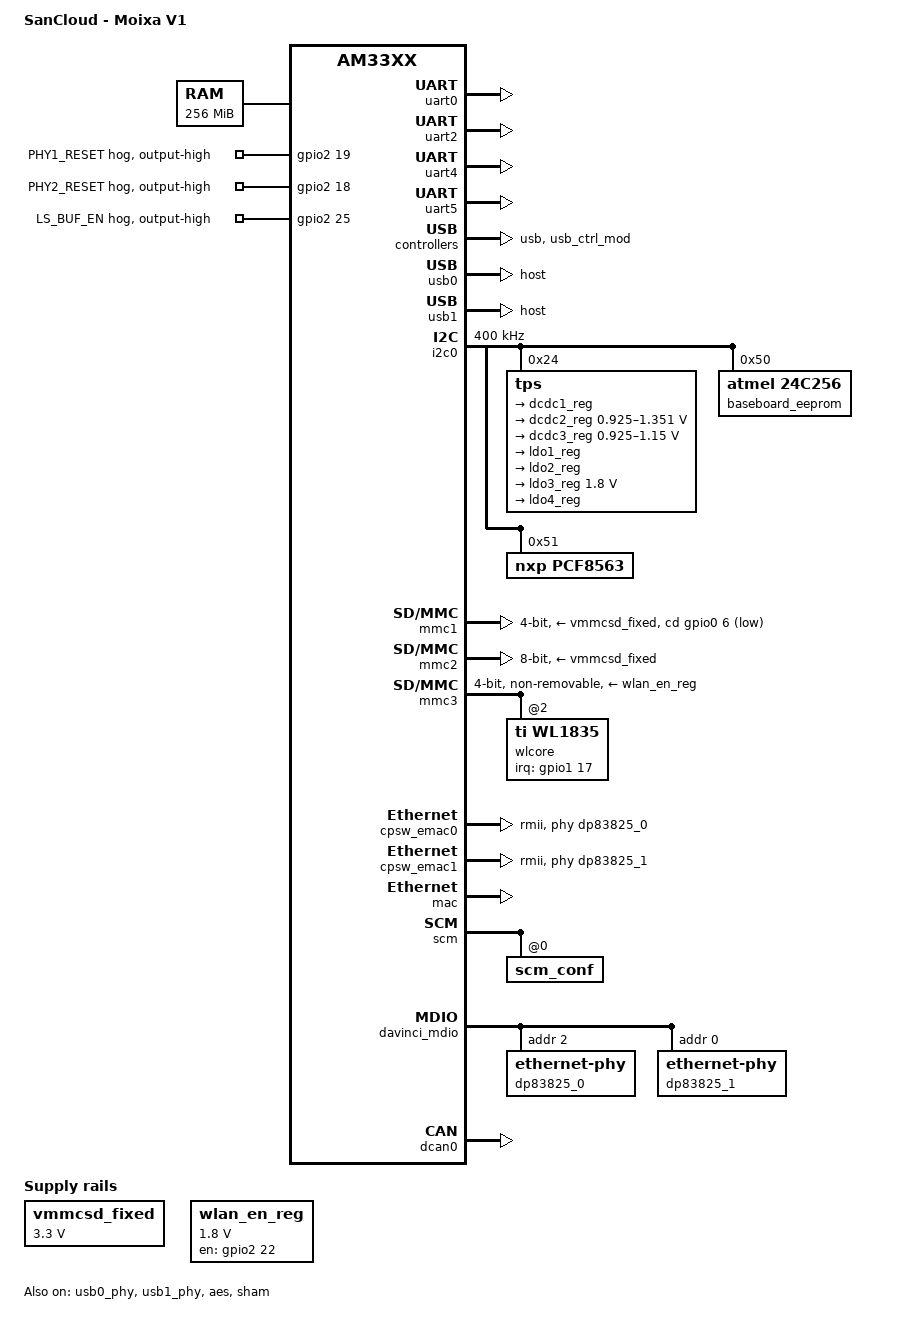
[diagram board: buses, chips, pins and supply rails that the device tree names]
// SPDX-License-Identifier: GPL-2.0
/*
 * Copyright (C) 2021 SanCloud - http://www.sancloud.com/
 *
 * This program is free software; you can redistribute it and/or modify
 * it under the terms of the GNU General Public License version 2 as
 * published by the Free Software Foundation.
 */
/dts-v1/;

#include "am33xx.dtsi"
#include <dt-bindings/interrupt-controller/irq.h>


/ {
	model = "SanCloud - Moixa V1";
	compatible = "ti,am33xx";

	cpus {
		cpu@0 {
			cpu0-supply = <&dcdc2_reg>;
		};
	};

	memory@80000000 {
		device_type = "memory";
		reg = <0x80000000 0x10000000>; /* 256 MB */
	};

	chosen {
		stdout-path = &uart0;
	};
  
 	vmmcsd_fixed: fixedregulator0 {
		compatible = "regulator-fixed";
		regulator-name = "vmmcsd_fixed";
		regulator-min-microvolt = <3300000>;
		regulator-max-microvolt = <3300000>;
	};

	wlan_en_reg: fixedregulator@2 {
		compatible = "regulator-fixed";
		regulator-name = "wlan-en-regulator";
		regulator-min-microvolt = <1800000>;
		regulator-max-microvolt = <1800000>;
		startup-delay-us= <70000>;

		/* WL_EN */
		gpio = <&gpio2 22 0>;
		enable-active-high;
	};  
  
};


&rtc {
	system-power-controller;
};


&am33xx_pinmux {
	pinctrl-names = "default";
	pinctrl-0 = <&clkout2_pin>;
  
	clkout2_pin: pinmux_clkout2_pin {
		pinctrl-single,pins = <
			AM33XX_IOPAD(0x9b4, PIN_OUTPUT_PULLDOWN | MUX_MODE3)	/* xdma_event_intr1.clkout2 */
		>;
	};

	cpsw_default: cpsw_default {
		pinctrl-single,pins = <
			/* Slave 1 */
			 AM33XX_IOPAD(0x928, PIN_OUTPUT | MUX_MODE1) /* (K17) mii1_txd0.mii1_txd0 */
			 AM33XX_IOPAD(0x924, PIN_OUTPUT | MUX_MODE1) /* (K16) mii1_txd1.mii1_txd1 */
			 AM33XX_IOPAD(0x914, PIN_OUTPUT | MUX_MODE1) /* (J16) mii1_txen.rmii1_txen */
			 AM33XX_IOPAD(0x90c, PIN_INPUT | MUX_MODE1) /* (J17) mii1_crs.rmii1_crs_dv */
			 AM33XX_IOPAD(0x940, PIN_INPUT | MUX_MODE1) /* (M16) mii1_rxd0.rmii1_rxd0 */
			 AM33XX_IOPAD(0x93c, PIN_INPUT | MUX_MODE1) /* (L15) mii1_rxd1.rmii1_rxd1 */
			 AM33XX_IOPAD(0x910, PIN_INPUT | MUX_MODE1) /* (K15) mii1_rx_err.mii1_rx_err */
       AM33XX_IOPAD(0x944, PIN_INPUT | MUX_MODE0) /* (L18) mii1_refclk.mii1_refclk */
			 /*AM33XX_IOPAD(0x938, PIN_OUTPUT | MUX_MODE7)*/ /* (L16) mii1_rxd2.gpio2_19 */
			 /*AM33XX_IOPAD(0x898, PIN_INPUT | MUX_MODE7)*/ /* (L17) gpmc_wen.gpio2_4 */
      
			/* Slave 2 */
			 AM33XX_IOPAD(0x854, PIN_OUTPUT | MUX_MODE3) /* (K17) gpmc_a5.rmii2_txd0 */
			 AM33XX_IOPAD(0x850, PIN_OUTPUT | MUX_MODE3) /* (K16) gpmc_a4.rmii2_txd1 */
			 AM33XX_IOPAD(0x840, PIN_OUTPUT | MUX_MODE3) /* (J16) gpmc_a0.rmii2_txen */
			 AM33XX_IOPAD(0x870, PIN_INPUT | MUX_MODE3) /* (J17) gpmc_wait0.rmii2_crs_dv */
			 AM33XX_IOPAD(0x86c, PIN_INPUT | MUX_MODE3) /* (M16) gpmc_a11.rmii2_rxd0 */
			 AM33XX_IOPAD(0x868, PIN_INPUT | MUX_MODE3) /* (L15) gpmc_a10.rmii2_rxd1 */
			 AM33XX_IOPAD(0x874, PIN_INPUT | MUX_MODE3) /* (K15) gpmc_wpn.mii2_rx_err */
       AM33XX_IOPAD(0x908, PIN_INPUT | MUX_MODE1) /* (L18) mii1_col.mii2_refclk */
			 /*AM33XX_IOPAD(0x934, PIN_OUTPUT | MUX_MODE7)*/ /* (L16) mii1_rxd3.gpio2_18 */
			 /*AM33XX_IOPAD(0x864, PIN_INPUT | MUX_MODE7)*/ /* (L17) gpmc_a9.gpio1_25 */
		>;
	};

	cpsw_sleep: cpsw_sleep {
		pinctrl-single,pins = <
			/* Slave 1 reset value */
			 AM33XX_IOPAD(0x928, PIN_INPUT_PULLDOWN | MUX_MODE7) /* (K17) mii1_txd0.mii1_txd0 */
			 AM33XX_IOPAD(0x924, PIN_INPUT_PULLDOWN | MUX_MODE7) /* (K16) mii1_txd1.mii1_txd1 */
			 AM33XX_IOPAD(0x914, PIN_INPUT_PULLDOWN | MUX_MODE7) /* (J16) mii1_txen.rmii1_txen */
			 AM33XX_IOPAD(0x90c, PIN_INPUT_PULLDOWN | MUX_MODE7) /* (J17) mii1_crs.rmii1_crs_dv */
			 AM33XX_IOPAD(0x940, PIN_INPUT_PULLDOWN | MUX_MODE7) /* (M16) mii1_rxd0.rmii1_rxd0 */
			 AM33XX_IOPAD(0x93c, PIN_INPUT_PULLDOWN | MUX_MODE7) /* (L15) mii1_rxd1.rmii1_rxd1 */
			 AM33XX_IOPAD(0x910, PIN_INPUT_PULLDOWN | MUX_MODE7) /* (K15) mii1_rx_err.mii1_rx_err */
       AM33XX_IOPAD(0x944, PIN_INPUT_PULLDOWN | MUX_MODE7) /* (L18) mii1_refclk.mii1_refclk */
		   /*AM33XX_IOPAD(0x938, PIN_INPUT_PULLDOWN | MUX_MODE7)*/ /* (L16) mii1_rxd2.gpio2_19 */
		   /*AM33XX_IOPAD(0x898, PIN_INPUT_PULLDOWN | MUX_MODE7)*/ /* (L17) gpmc_wen.gpio2_4 */
      
			/* Slave 2 reset value */
			 AM33XX_IOPAD(0x854, PIN_INPUT_PULLDOWN | MUX_MODE7) /* (K17) gpmc_a5.rmii2_txd0 */
			 AM33XX_IOPAD(0x850, PIN_INPUT_PULLDOWN | MUX_MODE7) /* (K16) gpmc_a4.rmii2_txd1 */
			 AM33XX_IOPAD(0x840, PIN_INPUT_PULLDOWN | MUX_MODE7) /* (J16) gpmc_a0.rmii2_txen */
			 AM33XX_IOPAD(0x870, PIN_INPUT_PULLDOWN | MUX_MODE7) /* (J17) gpmc_wait0.rmii2_crs_dv */
			 AM33XX_IOPAD(0x86c, PIN_INPUT_PULLDOWN | MUX_MODE7) /* (M16) gpmc_a11.rmii2_rxd0 */
			 AM33XX_IOPAD(0x868, PIN_INPUT_PULLDOWN | MUX_MODE7) /* (L15) gpmc_a10.rmii2_rxd1 */
			 AM33XX_IOPAD(0x874, PIN_INPUT_PULLDOWN | MUX_MODE7) /* (K15) gpmc_wpn.mii2_rx_err */
       AM33XX_IOPAD(0x908, PIN_INPUT_PULLDOWN | MUX_MODE7) /* (L18) mii1_col.mii2_refclk */
			 /*AM33XX_IOPAD(0x934, PIN_INPUT_PULLDOWN | MUX_MODE7)*/ /* (L16) mii1_rxd3.gpio2_18 */
			 /*AM33XX_IOPAD(0x864, PIN_INPUT_PULLDOWN | MUX_MODE7)*/ /* (L17) gpmc_a9.gpio1_25 */

		>;
	};

	davinci_mdio_default: davinci_mdio_default {
		pinctrl-single,pins = <
			/* MDIO */
			AM33XX_IOPAD(0x948, PIN_INPUT_PULLUP | SLEWCTRL_FAST | MUX_MODE0)	/* mdio_data.mdio_data */
			AM33XX_IOPAD(0x94c, PIN_OUTPUT_PULLUP | MUX_MODE0)			/* mdio_clk.mdio_clk */
		>;
	};

	davinci_mdio_sleep: davinci_mdio_sleep {
		pinctrl-single,pins = <
			/* MDIO reset value */
			AM33XX_IOPAD(0x948, PIN_INPUT_PULLDOWN | MUX_MODE7)
			AM33XX_IOPAD(0x94c, PIN_INPUT_PULLDOWN | MUX_MODE7)
		>;
	};

	dcan0_pins_s0: dcan0_pins_s0 {
		pinctrl-single,pins = <
			AM33XX_IOPAD(0x97C, 0x32  ) /* d_can0_rx, SLEWCTRL_FAST | RECV_ENABLE | INPUT_PULLUP | MODE2 */
			AM33XX_IOPAD(0x978, 0x12  ) /* d_can0_tx, SLEWCTRL_FAST | OUTPUT_PULLUP | MODE2 */
		>;
	};

	dcan0_pins_s0_sleep: dcan0_pins_s0_sleep {
		pinctrl-single,pins = <
			AM33XX_IOPAD(0x97C, PIN_INPUT_PULLDOWN | MUX_MODE7)  /* d_can0_rx, SLEWCTRL_FAST | RECV_ENABLE | INPUT_PULLUP | MODE7 */
			AM33XX_IOPAD(0x978, PIN_INPUT_PULLDOWN | MUX_MODE7)  /* d_can0_tx, SLEWCTRL_FAST | OUTPUT_PULLUP | MODE7 */
		>;
	};


	mmc1_pins: pinmux_mmc1_pins {
		pinctrl-single,pins = <
			AM33XX_IOPAD(0x960, PIN_INPUT | MUX_MODE7)		/* spio0_cs1.gpio0_6 */
			AM33XX_IOPAD(0x8fc, PIN_INPUT_PULLUP | MUX_MODE0)	/* mmc0_dat0.mmc0_dat0 */
			AM33XX_IOPAD(0x8f8, PIN_INPUT_PULLUP | MUX_MODE0)	/* mmc0_dat1.mmc0_dat1 */
			AM33XX_IOPAD(0x8f4, PIN_INPUT_PULLUP | MUX_MODE0)	/* mmc0_dat2.mmc0_dat2 */
			AM33XX_IOPAD(0x8f0, PIN_INPUT_PULLUP | MUX_MODE0)	/* mmc0_dat3.mmc0_dat3 */
			AM33XX_IOPAD(0x904, PIN_INPUT_PULLUP | MUX_MODE0)	/* mmc0_cmd.mmc0_cmd */
			AM33XX_IOPAD(0x900, PIN_INPUT_PULLUP | MUX_MODE0)	/* mmc0_clk.mmc0_clk */
		>;
	};

	emmc_pins: pinmux_emmc_pins {
		pinctrl-single,pins = <
			AM33XX_IOPAD(0x880, PIN_INPUT_PULLUP | MUX_MODE2) /* gpmc_csn1.mmc1_clk */
			AM33XX_IOPAD(0x884, PIN_INPUT_PULLUP | MUX_MODE2) /* gpmc_csn2.mmc1_cmd */
			AM33XX_IOPAD(0x800, PIN_INPUT_PULLUP | MUX_MODE1) /* gpmc_ad0.mmc1_dat0 */
			AM33XX_IOPAD(0x804, PIN_INPUT_PULLUP | MUX_MODE1) /* gpmc_ad1.mmc1_dat1 */
			AM33XX_IOPAD(0x808, PIN_INPUT_PULLUP | MUX_MODE1) /* gpmc_ad2.mmc1_dat2 */
			AM33XX_IOPAD(0x80c, PIN_INPUT_PULLUP | MUX_MODE1) /* gpmc_ad3.mmc1_dat3 */
			AM33XX_IOPAD(0x810, PIN_INPUT_PULLUP | MUX_MODE1) /* gpmc_ad4.mmc1_dat4 */
			AM33XX_IOPAD(0x814, PIN_INPUT_PULLUP | MUX_MODE1) /* gpmc_ad5.mmc1_dat5 */
			AM33XX_IOPAD(0x818, PIN_INPUT_PULLUP | MUX_MODE1) /* gpmc_ad6.mmc1_dat6 */
			AM33XX_IOPAD(0x81c, PIN_INPUT_PULLUP | MUX_MODE1) /* gpmc_ad7.mmc1_dat7 */
		>;
	};

	mmc3_pins: pinmux_mmc3_pins {
		pinctrl-single,pins = <
			AM33XX_IOPAD(0x88c, PIN_INPUT_PULLUP | MUX_MODE3) /* (V12) gpmc_clk.mmc2_clk */
			AM33XX_IOPAD(0x888, PIN_INPUT_PULLUP | MUX_MODE3) /* (T13) gpmc_csn3.mmc2_cmd */
			AM33XX_IOPAD(0x830, PIN_INPUT_PULLUP | MUX_MODE3) /* (T12) gpmc_ad12.mmc2_dat0 */
			AM33XX_IOPAD(0x834, PIN_INPUT_PULLUP | MUX_MODE3) /* (R12) gpmc_ad13.mmc2_dat1 */
			AM33XX_IOPAD(0x838, PIN_INPUT_PULLUP | MUX_MODE3) /* (V13) gpmc_ad14.mmc2_dat2 */
			AM33XX_IOPAD(0x83c, PIN_INPUT_PULLUP | MUX_MODE3) /* (U13) gpmc_ad15.mmc2_dat3 */
		>;
	};

	wl18xx_pins: pinmux_wl18xx_pins {
		pinctrl-single,pins = <
			AM33XX_IOPAD(0x8e0, PIN_OUTPUT_PULLDOWN | MUX_MODE7)	/* lcd_vsync.gpio2_22 WL_EN */
			AM33XX_IOPAD(0x844, PIN_INPUT_PULLDOWN | MUX_MODE7)	  /* gpmc_a1.gpio1_17 WL_IRQ */
			AM33XX_IOPAD(0x8ec, PIN_OUTPUT_PULLUP | MUX_MODE7)	  /* cd_ac_bias_en.gpio2_25 LS_BUF_EN */
		>;
	};
  
	i2c0_pins: pinmux_i2c0_pins {
		pinctrl-single,pins = <
			AM33XX_IOPAD(0x988, PIN_INPUT_PULLUP | MUX_MODE0)	/* i2c0_sda.i2c0_sda */
			AM33XX_IOPAD(0x98c, PIN_INPUT_PULLUP | MUX_MODE0)	/* i2c0_scl.i2c0_scl */
		>;
	};


	uart0_pins: pinmux_uart0_pins {
		pinctrl-single,pins = <
			AM33XX_IOPAD(0x970, PIN_INPUT_PULLUP | MUX_MODE0)	/* uart0_rxd.uart0_rxd */
			AM33XX_IOPAD(0x974, PIN_OUTPUT_PULLDOWN | MUX_MODE0)	/* uart0_txd.uart0_txd */
		>;
	};

	uart2_pins: uart2_pins_default {
		pinctrl-single,pins = <
			AM33XX_IOPAD(0x92c, PIN_INPUT | MUX_MODE1)  /*  mii1_tx_clk.uart2_rxd */
			AM33XX_IOPAD(0x930, PIN_OUTPUT | MUX_MODE1) /*  mii1_rx_clk.uart2_txd */
			AM33XX_IOPAD(0x878, PIN_OUTPUT | MUX_MODE7) /*  gpmc_ben1.gpio1[28] RTS */
		>;
	};


	uart4_pins: uart4_pins_default {
		pinctrl-single,pins = <
			AM33XX_IOPAD(0x91c, PIN_INPUT | MUX_MODE3) /*  mii1_txd3.uart4_rxd */
   		AM33XX_IOPAD(0x920, PIN_OUTPUT | MUX_MODE3) /*  mii1_txd2.uart4_txd */
			AM33XX_IOPAD(0x8e8, PIN_OUTPUT_PULLUP | MUX_MODE7) /* lcd_pclk.gpio2[24] RTS */
		>;
	};


	uart5_pins: uart5_pins_default {
		pinctrl-single,pins = <
			AM33XX_IOPAD(0x8c4, PIN_INPUT | MUX_MODE4) /* (U2) lcd_data9.uart5_rxd */
			AM33XX_IOPAD(0x8c0, PIN_OUTPUT | MUX_MODE4) /* (U1) lcd_data8.uart5_txd */
			AM33XX_IOPAD(0x8d8, PIN_INPUT | MUX_MODE6) /* (V4) lcd_data14.uart5_ctsn */
			AM33XX_IOPAD(0x8dc, PIN_OUTPUT | MUX_MODE6) /* (T5) lcd_data15.uart5_rtsn */
		>;
	};  
  
};

&uart0 {
	pinctrl-names = "default";
	pinctrl-0 = <&uart0_pins>;

	status = "okay";
};

&uart2 {
    pinctrl-names = "default";
    pinctrl-0 = <&uart2_pins>;
    status = "okay";
    rts-gpio = <&gpio1 28 GPIO_ACTIVE_HIGH>;
    rs485-rts-active-high;
    rs485-rts-delay = <0 0>;
    linux,rs485-enabled-at-boot-time;
};


&uart4 {
    pinctrl-names = "default";
    pinctrl-0 = <&uart4_pins>;
    status = "okay";
    rts-gpio = <&gpio2 24 GPIO_ACTIVE_HIGH>;
    rs485-rts-active-high;
    rs485-rts-delay = <0 0>;
    linux,rs485-enabled-at-boot-time;
};


&uart5 {
  pinctrl-names = "default";
  pinctrl-0 = <&uart5_pins>;
  status = "okay";
  uart-has-rtscts;
};


&usb {
	status = "okay";
};

&usb_ctrl_mod {
	status = "okay";
};

&usb0_phy {
	status = "okay";
};

&usb1_phy {
	status = "okay";
};

&usb0 {
	status = "okay";
	dr_mode = "host";
};

&usb1 {
	status = "okay";
	dr_mode = "host";
};

&cppi41dma  {
	status = "okay";
};

&i2c0 {
	pinctrl-names = "default";
	pinctrl-0 = <&i2c0_pins>;

	status = "okay";
	clock-frequency = <400000>;

	tps: tps@24 {
		reg = <0x24>;
	};

	baseboard_eeprom: baseboard_eeprom@50 {
		compatible = "atmel,24c256";
		reg = <0x50>;

		#address-cells = <1>;
		#size-cells = <1>;
		baseboard_data: baseboard_data@0 {
			reg = <0 0x100>;
		};
	};
  
 	pcf8563: pcf8563@51 {
		device_type = "rtc";
		compatible = "nxp,pcf8563";
		reg = <0x51>;
	};
};


/* Prevent i2c1 working as we need it for VEBUS interface */
&i2c1 {
	pinctrl-0 = "";
	status = "disabled";
};

/* Prevent i2c2 working as we need it for DCAN0 interface */
&i2c2 {
	pinctrl-0 = "";
	status = "disabled";
};


/include/ "tps65217.dtsi"

&tps {
	/*
	 * Configure pmic to enter OFF-state instead of SLEEP-state ("RTC-only
	 * mode") at poweroff.  Most BeagleBone versions do not support RTC-only
	 * mode and risk hardware damage if this mode is entered.
	 *
	 * For details, see linux-omap mailing list May 2015 thread
	 *	[PATCH] ARM: dts: am335x-bone* enable pmic-shutdown-controller
	 * In particular, messages:
	 *	http://www.spinics.net/lists/linux-omap/msg118585.html
	 *	http://www.spinics.net/lists/linux-omap/msg118615.html
	 *
	 * You can override this later with
	 *	&tps {  /delete-property/ ti,pmic-shutdown-controller;  }
	 * if you want to use RTC-only mode and made sure you are not affected
	 * by the hardware problems. (Tip: double-check by performing a current
	 * measurement after shutdown: it should be less than 1 mA.)
	 */

	interrupts = <7>; /* NMI */
	interrupt-parent = <&intc>;

	ti,pmic-shutdown-controller;

	charger {
		status = "okay";
	};

	pwrbutton {
		status = "okay";
	};

	regulators {
		dcdc1_reg: regulator@0 {
			regulator-name = "vdds_dpr";
			regulator-always-on;
		};

		dcdc2_reg: regulator@1 {
			/* VDD_MPU voltage limits 0.95V - 1.26V with +/-4% tolerance */
			regulator-name = "vdd_mpu";
			regulator-min-microvolt = <925000>;
			regulator-max-microvolt = <1351500>;
			regulator-boot-on;
			regulator-always-on;
		};

		dcdc3_reg: regulator@2 {
			/* VDD_CORE voltage limits 0.95V - 1.1V with +/-4% tolerance */
			regulator-name = "vdd_core";
			regulator-min-microvolt = <925000>;
			regulator-max-microvolt = <1150000>;
			regulator-boot-on;
			regulator-always-on;
		};

		ldo1_reg: regulator@3 {
			regulator-name = "vio,vrtc,vdds";
			regulator-always-on;
		};

		ldo2_reg: regulator@4 {
			regulator-name = "vdd_3v3aux";
			regulator-always-on;
		};

		ldo3_reg: regulator@5 {
			regulator-name = "vdd_1v8";
      regulator-min-microvolt = <1800000>;
      regulator-max-microvolt = <1800000>;      
			regulator-always-on;
		};

		ldo4_reg: regulator@6 {
			regulator-name = "vdd_3v3a";
			regulator-always-on;
		};
	};
};

&mmc1 {
	vmmc-supply = <&vmmcsd_fixed>;
	status = "okay";
	bus-width = <0x4>;
	pinctrl-names = "default";
	pinctrl-0 = <&mmc1_pins>;
	cd-gpios = <&gpio0 6 GPIO_ACTIVE_LOW>;
};

&mmc2 {
	vmmc-supply = <&vmmcsd_fixed>;
	pinctrl-names = "default";
	pinctrl-0 = <&emmc_pins>;
	bus-width = <8>;
	status = "okay";
};

&mmc3 {
	dmas = <&edma_xbar 12 0 1
		&edma_xbar 13 0 2>;
	dma-names = "tx", "rx";
	status = "okay";
	vmmc-supply = <&wlan_en_reg>;
	bus-width = <4>;
	non-removable;
	cap-power-off-card;
	ti,needs-special-hs-handling;
	keep-power-in-suspend;
	pinctrl-names = "default";
	pinctrl-0 = <&mmc3_pins &wl18xx_pins>;

	#address-cells = <1>;
	#size-cells = <0>;
	wlcore: wlcore@2 {
		compatible = "ti,wl1835";
		reg = <2>;
		interrupt-parent = <&gpio1>;
		interrupts = <17 IRQ_TYPE_EDGE_RISING>;
	};
};

&gpio2 {
	phy1_reset {
		gpio-hog;
		gpios = <19 GPIO_ACTIVE_HIGH>;
		output-high;
		line-name = "PHY1_RESET";
	};

	phy2_reset {
		gpio-hog;
		gpios = <18 GPIO_ACTIVE_HIGH>;
		output-high;
		line-name = "PHY2_RESET";
	};

	ls_buf_en {
		gpio-hog;
		gpios = <25 GPIO_ACTIVE_HIGH>;
		output-high;
		line-name = "LS_BUF_EN";
	};
};


&cpsw_emac0 {
  phy-handle = <&dp83825_0>;
	phy-mode = "rmii";
	/*dual_emac_res_vlan = <1>;*/
};

&cpsw_emac1 {
	phy-handle = <&dp83825_1>;
	phy-mode = "rmii";
	dual_emac_res_vlan = <2>;
};


&mac {
	pinctrl-names = "default", "sleep";
	pinctrl-0 = <&cpsw_default>;
	pinctrl-1 = <&cpsw_sleep>;
	status = "okay";
	dual_emac = <1>;
};

&scm {
	scm_conf: scm_conf@0 {
		phy_gmii_sel: phy-gmii-sel {
			compatible = "ti,am3352-phy-gmii-sel";
			reg = <0x650 0x5>;
			#phy-cells = <2>;
		};
	};
};

&davinci_mdio {
	pinctrl-names = "default", "sleep";
	pinctrl-0 = <&davinci_mdio_default>;
	pinctrl-1 = <&davinci_mdio_sleep>;
	status = "okay";

  dp83825_0: ethernet-phy@0 {
    reg = <2>;
  };

  dp83825_1: ethernet-phy@1 {
    reg = <0>;
  };

};


&aes {
	status = "okay";
};

&sham {
	status = "okay";
};

&rtc {
	clocks = <&clk_32768_ck>, <&clk_24mhz_clkctrl AM3_CLK_24MHZ_CLKDIV32K_CLKCTRL 0>;
	clock-names = "ext-clk", "int-clk";
};

&dcan0 {
	#address-cells = <1>;
	#size-cells = <0>;
    pinctrl-names = "default", "sleep"; /* Apply default pinmuxing */
    pinctrl-0 = <&dcan0_pins_s0>;
    pinctrl-1 = <&dcan0_pins_s0_sleep>;
	status = "okay";  /* Switch on DCAN0 */
};


&wkup_m3_ipc {
	ti,scale-data-fw = "am335x-bone-scale-data.bin";
};
